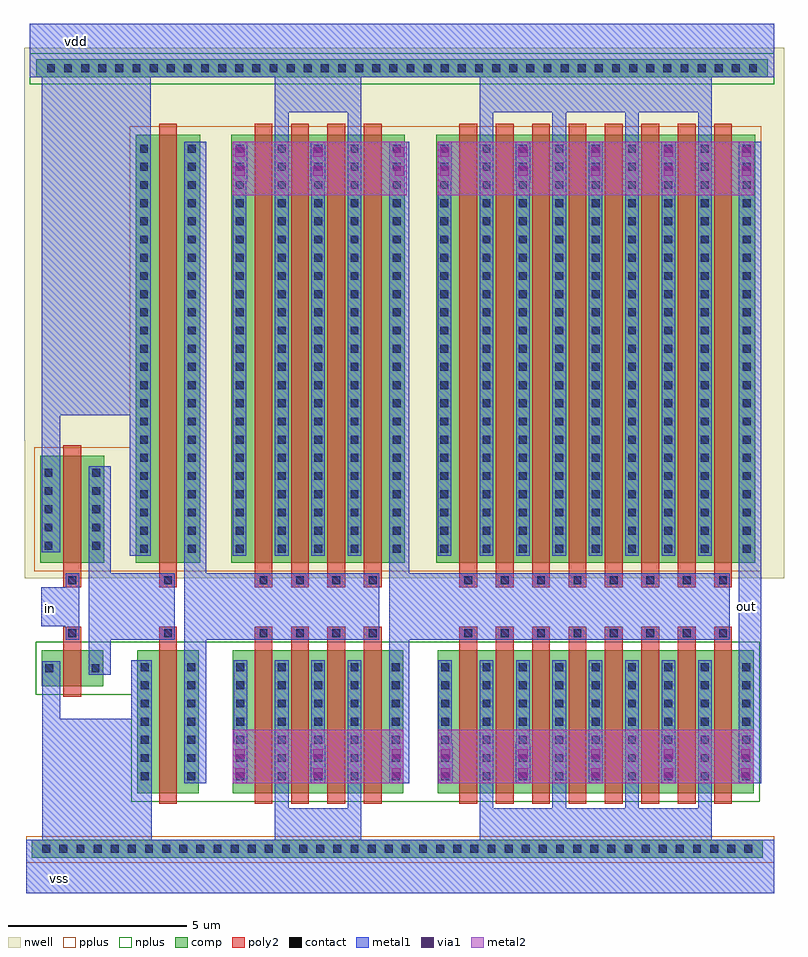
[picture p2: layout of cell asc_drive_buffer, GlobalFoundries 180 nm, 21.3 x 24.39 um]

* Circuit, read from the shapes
.subckt asc_drive_buffer in out vdd vss
XM1 n1 in vss vss nfet_03v3 w=1u l=0.5u
XM2 n2 n1 vss vss nfet_03v3 w=4u l=0.5u
XM3 vss n2 n3 vss nfet_03v3 w=4u l=0.5u m=4
XM4 vss n3 out vss nfet_03v3 w=4u l=0.5u m=8
XM5 n1 in vdd vdd pfet_03v3 w=3u l=0.5u
XM6 n2 n1 vdd vdd pfet_03v3 w=12u l=0.5u
XM7 vdd n2 n3 vdd pfet_03v3 w=12u l=0.5u m=4
XM8 vdd n3 out vdd pfet_03v3 w=12u l=0.5u m=8
.ends

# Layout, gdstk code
from math import pi, radians
import gdstk
lib = gdstk.Library(unit=1e-6, precision=5e-09)
def R(c, l, rs):  # rectangles x0, y0, x1, y1
    for r in rs: c.add(gdstk.rectangle(r[:2], r[2:], *l))
def A(c, l, x, y, w, h, nx, ny, dx, dy):  # array of equal rectangles
    R(c, l, [(x+i*dx, y+j*dy, x+i*dx+w, y+j*dy+h) for i in range(nx) for j in range(ny)])
nwell = (21, 0)
comp = (22, 0)
poly2 = (30, 0)
pplus = (31, 0)
nplus = (32, 0)
contact = (33, 0)
metal1 = (34, 0)
via1 = (35, 0)
metal2 = (36, 0)

via_dev_645 = lib.new_cell('via_dev$645')
R(via_dev_645, metal1, [(0,0,1.1,0.4)])
R(via_dev_645, via1, [(0.155,0.07,0.415,0.33), (0.685,0.07,0.945,0.33)])
R(via_dev_645, metal2, [(0,0,1.1,0.4)])

nfet_220 = lib.new_cell('nfet$220')
R(nfet_220, comp, [(-0.42,0,0,4), (0,0,3.94,4), (3.94,0,4.36,4)])
A(nfet_220, poly2, 0.19, -0.3, 0.5, 4.6, 4, 1, 1.02, 0)
A(nfet_220, poly2, 0.19, 4.3, 0.5, 0.36, 4, 1, 1.02, 0)
R(nfet_220, nplus, [(-0.59,-0.24,4.53,4.24)])
A(nfet_220, contact, -0.32, 0.36, 0.22, 0.22, 1, 7, 0, 0.51)
A(nfet_220, contact, 0.84, 0.36, 0.22, 0.22, 3, 7, 1.02, 0.51)
A(nfet_220, contact, 4.04, 0.36, 0.22, 0.22, 1, 7, 0, 0.51)
A(nfet_220, contact, 0.33, 4.37, 0.22, 0.22, 4, 1, 1.02, 0)
A(nfet_220, metal1, 0.76, 0.28, 0.38, 3.44, 3, 1, 1.02, 0)
A(nfet_220, metal1, 0.25, 4.29, 0.38, 0.38, 4, 1, 1.02, 0)
R(nfet_220, metal1, [(-0.4,0.28,-0.02,3.72), (3.96,0.28,4.34,3.72)])

via_dev_646 = lib.new_cell('via_dev$646')
R(via_dev_646, comp, [(0,0,20.5,0.5)])
A(via_dev_646, contact, 0.3, 0.14, 0.22, 0.22, 42, 1, 0.48, 0)
R(via_dev_646, metal1, [(0,0,20.5,0.5)])

nfet_221 = lib.new_cell('nfet$221')
R(nfet_221, comp, [(-0.42,0,0,4), (0,0,8.02,4), (8.02,0,8.44,4)])
A(nfet_221, poly2, 0.19, -0.3, 0.5, 4.6, 8, 1, 1.02, 0)
A(nfet_221, poly2, 0.19, 4.3, 0.5, 0.36, 8, 1, 1.02, 0)
R(nfet_221, nplus, [(-0.59,-0.24,8.61,4.24)])
A(nfet_221, contact, -0.32, 0.36, 0.22, 0.22, 1, 7, 0, 0.51)
A(nfet_221, contact, 0.84, 0.36, 0.22, 0.22, 7, 7, 1.02, 0.51)
A(nfet_221, contact, 8.12, 0.36, 0.22, 0.22, 1, 7, 0, 0.51)
A(nfet_221, contact, 0.33, 4.37, 0.22, 0.22, 8, 1, 1.02, 0)
A(nfet_221, metal1, 0.76, 0.28, 0.38, 3.44, 7, 1, 1.02, 0)
A(nfet_221, metal1, 0.25, 4.29, 0.38, 0.38, 8, 1, 1.02, 0)
R(nfet_221, metal1, [(-0.4,0.28,-0.02,3.72), (8.04,0.28,8.42,3.72)])

pfet_206 = lib.new_cell('pfet$206')
R(pfet_206, nwell, [(-0.9,-0.44,8.92,12.44)])
R(pfet_206, comp, [(-0.46,0,0,12), (0,0,8.02,12), (8.02,0,8.48,12)])
A(pfet_206, poly2, 0.19, -0.68, 0.5, 0.38, 8, 1, 1.02, 0)
A(pfet_206, poly2, 0.19, -0.3, 0.5, 12.6, 8, 1, 1.02, 0)
R(pfet_206, pplus, [(-0.63,-0.24,8.65,12.24)])
A(pfet_206, contact, 0.33, -0.6, 0.22, 0.22, 8, 1, 1.02, 0)
A(pfet_206, contact, -0.34, 0.28, 0.22, 0.22, 1, 23, 0, 0.51)
A(pfet_206, contact, 0.84, 0.28, 0.22, 0.22, 7, 23, 1.02, 0.51)
A(pfet_206, contact, 8.14, 0.28, 0.22, 0.22, 1, 23, 0, 0.51)
A(pfet_206, metal1, 0.25, -0.68, 0.38, 0.38, 8, 1, 1.02, 0)
A(pfet_206, metal1, 0.76, 0.2, 0.38, 11.6, 7, 1, 1.02, 0)
R(pfet_206, metal1, [(-0.42,0.2,-0.04,11.8), (8.06,0.2,8.44,11.8)])

via_dev_647 = lib.new_cell('via_dev$647')

pfet_207 = lib.new_cell('pfet$207')
R(pfet_207, nwell, [(-0.9,-0.44,4.84,12.44)])
R(pfet_207, comp, [(-0.46,0,0,12), (0,0,3.94,12), (3.94,0,4.4,12)])
A(pfet_207, poly2, 0.19, -0.68, 0.5, 0.38, 4, 1, 1.02, 0)
A(pfet_207, poly2, 0.19, -0.3, 0.5, 12.6, 4, 1, 1.02, 0)
R(pfet_207, pplus, [(-0.63,-0.24,4.57,12.24)])
A(pfet_207, contact, 0.33, -0.6, 0.22, 0.22, 4, 1, 1.02, 0)
A(pfet_207, contact, -0.34, 0.28, 0.22, 0.22, 1, 23, 0, 0.51)
A(pfet_207, contact, 0.84, 0.28, 0.22, 0.22, 3, 23, 1.02, 0.51)
A(pfet_207, contact, 4.06, 0.28, 0.22, 0.22, 1, 23, 0, 0.51)
A(pfet_207, metal1, 0.25, -0.68, 0.38, 0.38, 4, 1, 1.02, 0)
A(pfet_207, metal1, 0.76, 0.2, 0.38, 11.6, 3, 1, 1.02, 0)
R(pfet_207, metal1, [(-0.42,0.2,-0.04,11.8), (3.98,0.2,4.36,11.8)])

nfet_222 = lib.new_cell('nfet$222')
R(nfet_222, comp, [(-0.42,0,0,4), (0,0,0.88,4), (0.88,0,1.3,4)])
R(nfet_222, poly2, [(0.19,-0.3,0.69,4.3), (0.19,4.3,0.69,4.66)])
R(nfet_222, nplus, [(-0.59,-0.24,1.47,4.24)])
A(nfet_222, contact, -0.32, 0.36, 0.22, 0.22, 1, 7, 0, 0.51)
A(nfet_222, contact, 0.98, 0.36, 0.22, 0.22, 1, 7, 0, 0.51)
R(nfet_222, contact, [(0.33,4.37,0.55,4.59)])
R(nfet_222, metal1, [(-0.4,0.28,-0.02,3.72), (0.9,0.28,1.28,3.72), (0.25,4.29,0.63,4.67)])

pfet_208 = lib.new_cell('pfet$208')
R(pfet_208, nwell, [(-0.9,-0.44,1.78,12.44)])
R(pfet_208, comp, [(-0.46,0,0,12), (0,0,0.88,12), (0.88,0,1.34,12)])
R(pfet_208, poly2, [(0.19,-0.68,0.69,-0.3), (0.19,-0.3,0.69,12.3)])
R(pfet_208, pplus, [(-0.63,-0.24,1.51,12.24)])
A(pfet_208, contact, -0.34, 0.28, 0.22, 0.22, 1, 23, 0, 0.51)
A(pfet_208, contact, 1, 0.28, 0.22, 0.22, 1, 23, 0, 0.51)
R(pfet_208, contact, [(0.33,-0.6,0.55,-0.38)])
R(pfet_208, metal1, [(0.25,-0.68,0.63,-0.3), (-0.42,0.2,-0.04,11.8), (0.92,0.2,1.3,11.8)])

nfet_223 = lib.new_cell('nfet$223')
R(nfet_223, comp, [(-0.42,0,0,1), (0,0,0.88,1), (0.88,0,1.3,1)])
R(nfet_223, poly2, [(0.19,-0.3,0.69,1.3), (0.19,1.3,0.69,1.66)])
R(nfet_223, nplus, [(-0.59,-0.24,1.47,1.24)])
R(nfet_223, contact, [(-0.32,0.39,-0.1,0.61), (0.98,0.39,1.2,0.61), (0.33,1.37,0.55,1.59)])
R(nfet_223, metal1, [(-0.4,0.31,-0.02,0.69), (0.9,0.31,1.28,0.69), (0.25,1.29,0.63,1.67)])

pfet_209 = lib.new_cell('pfet$209')
R(pfet_209, nwell, [(-0.9,-0.44,1.78,3.44)])
R(pfet_209, comp, [(-0.46,0,0,3), (0,0,0.88,3), (0.88,0,1.34,3)])
R(pfet_209, poly2, [(0.19,-0.68,0.69,-0.3), (0.19,-0.3,0.69,3.3)])
R(pfet_209, pplus, [(-0.63,-0.24,1.51,3.24)])
A(pfet_209, contact, -0.34, 0.37, 0.22, 0.22, 1, 5, 0, 0.51)
A(pfet_209, contact, 1, 0.37, 0.22, 0.22, 1, 5, 0, 0.51)
R(pfet_209, contact, [(0.33,-0.6,0.55,-0.38)])
R(pfet_209, metal1, [(0.25,-0.68,0.63,-0.3), (-0.42,0.29,-0.04,2.71), (0.92,0.29,1.3,2.71)])

asc_drive_buffer = lib.new_cell('asc_drive_buffer')
R(asc_drive_buffer, nwell, [(36.45,0.435,36.82,13.315), (15.515,4.315,18.21,13.115), (15.515,13.115,18.21,13.315), (15.515,13.315,36.82,15.315)])
R(asc_drive_buffer, pplus, [(15.58,-7.535,36.55,-6.785), (17.94,0.635,18.48,4.115), (20.62,0.635,21.16,13.115), (26.36,0.635,26.9,13.115)])
R(asc_drive_buffer, nplus, [(20.58,-5.82,21.2,-1.34), (26.32,-5.82,26.94,-1.34), (17.9,-2.82,18.52,-1.34), (15.675,14.29,36.55,15.155)])
A(asc_drive_buffer, metal1, 28.29, -6.895, 0.38, 1.595, 4, 1, 2.04, 0)
A(asc_drive_buffer, metal1, 28.29, 12.675, 0.38, 1.815, 4, 1, 2.04, 0)
R(asc_drive_buffer, metal1, [(15.58,-8.395,36.55,-6.895), (15.58,-7.395,15.73,-6.895), (16.03,-6.895,16.535,-1.89), (16.535,-6.895,18.52,-3.5), (18.52,-6.895,19.09,-1.86), (22.55,-6.895,22.93,-5.3), (22.93,-6.895,24.59,-6), (24.59,-6.895,24.97,-5.3), (28.67,-6.895,34.41,-6.005), (25.75,-5.305,26.32,12.675), (20.01,-5.3,20.62,12.675), (35.55,-5.3,36.18,12.675), (17.33,-2.27,17.94,3.585), (17.94,-1.29,19.74,0.575), (20.62,-1.29,25.48,0.575), (26.32,-1.29,35.3,0.575), (16,-0.91,17.06,0.195), (19.36,-0.91,19.74,0.195), (18.48,1.075,19.07,14.49), (17.35,1.095,17.73,1.165), (16.01,1.165,16.525,14.49), (16.525,5.005,18.48,14.49), (22.55,12.675,22.93,14.49), (24.59,12.675,24.97,14.49), (28.67,13.5,34.41,14.49), (22.93,13.505,24.59,14.49), (15.675,14.49,36.55,15.99), (15.71,14.49,15.86,14.99)])
R(asc_drive_buffer, metal2, [(21.37,-5.305,26.15,-3.8), (27.13,-5.305,35.97,-3.8), (21.37,11.175,26.24,12.675), (27.11,11.175,35.97,12.675)])
asc_drive_buffer.add(gdstk.Reference(via_dev_645, (21.77,-5.3), rotation=pi/2))
asc_drive_buffer.add(gdstk.Reference(nfet_220, (21.79,-5.58)))
asc_drive_buffer.add(gdstk.Reference(via_dev_646, (15.86,14.49)))
asc_drive_buffer.add(gdstk.Reference(via_dev_646, (15.73,-7.395)))
asc_drive_buffer.add(gdstk.Reference(nfet_221, (27.53,-5.58)))
asc_drive_buffer.add(gdstk.Reference(via_dev_645, (23.96,-5.3), rotation=pi/2))
asc_drive_buffer.add(gdstk.Reference(pfet_206, (27.53,0.875)))
asc_drive_buffer.add(gdstk.Reference(via_dev_647, (20.43,-6.6), rotation=pi/2))
asc_drive_buffer.add(gdstk.Reference(pfet_207, (21.79,0.875)))
asc_drive_buffer.add(gdstk.Reference(nfet_222, (19.11,-5.58)))
asc_drive_buffer.add(gdstk.Reference(via_dev_647, (17.75,-6.6), rotation=pi/2))
asc_drive_buffer.add(gdstk.Reference(pfet_208, (19.11,0.875)))
asc_drive_buffer.add(gdstk.Reference(via_dev_647, (13.45,-6.6), rotation=pi/2))
asc_drive_buffer.add(gdstk.Reference(nfet_223, (16.43,-2.58)))
asc_drive_buffer.add(gdstk.Reference(via_dev_645, (26.15,-5.3), rotation=pi/2))
asc_drive_buffer.add(gdstk.Reference(pfet_209, (16.43,0.875)))
asc_drive_buffer.add(gdstk.Reference(via_dev_645, (21.77,11.575), rotation=pi/2))
asc_drive_buffer.add(gdstk.Reference(via_dev_645, (23.96,11.575), rotation=pi/2))
asc_drive_buffer.add(gdstk.Reference(via_dev_645, (26.24,11.575), rotation=pi/2))
asc_drive_buffer.add(gdstk.Reference(via_dev_645, (27.51,11.575), rotation=pi/2))
asc_drive_buffer.add(gdstk.Reference(via_dev_645, (29.7,11.575), rotation=pi/2))
asc_drive_buffer.add(gdstk.Reference(via_dev_645, (31.74,11.575), rotation=pi/2))
asc_drive_buffer.add(gdstk.Reference(via_dev_645, (33.78,11.575), rotation=pi/2))
asc_drive_buffer.add(gdstk.Reference(via_dev_645, (35.97,11.575), rotation=pi/2))
asc_drive_buffer.add(gdstk.Reference(via_dev_645, (27.53,-5.3), rotation=pi/2))
asc_drive_buffer.add(gdstk.Reference(via_dev_645, (29.7,-5.3), rotation=pi/2))
asc_drive_buffer.add(gdstk.Reference(via_dev_645, (31.74,-5.3), rotation=pi/2))
asc_drive_buffer.add(gdstk.Reference(via_dev_645, (33.78,-5.3), rotation=pi/2))
asc_drive_buffer.add(gdstk.Reference(via_dev_645, (35.95,-5.3), rotation=pi/2))
asc_drive_buffer.add(gdstk.Label('vss', (16.515,-7.99), layer=34, texttype=10))
asc_drive_buffer.add(gdstk.Label('in', (16.265,-0.395), layer=34, texttype=10))
asc_drive_buffer.add(gdstk.Label('vdd', (16.975,15.49), layer=34, texttype=10))
asc_drive_buffer.add(gdstk.Label('out', (35.765,-0.365), layer=34, texttype=10))

lib.write_gds('asc_drive_buffer.gds')
